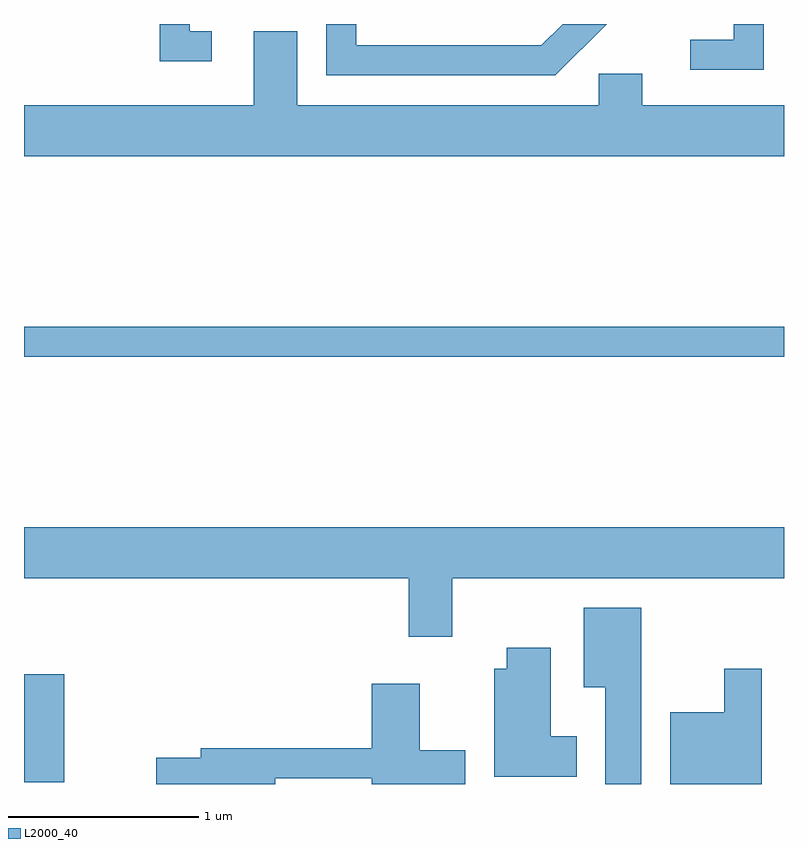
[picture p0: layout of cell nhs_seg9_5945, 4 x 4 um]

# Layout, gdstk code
import gdstk
lib = gdstk.Library(unit=1e-6, precision=1e-09)
def R(c, l, rs):  # rectangles x0, y0, x1, y1
    for r in rs: c.add(gdstk.rectangle(r[:2], r[2:], *l))
def P(c, l, *ps):  # polygons
    for p in ps: c.add(gdstk.Polygon(p, *l))
L2000_40 = (2000, 40)

nhs_seg9_5945 = lib.new_cell('nhs_seg9_5945')
R(nhs_seg9_5945, L2000_40, [(359.611,2068.441,359.824,2069.009), (359.611,2070.681,363.611,2070.839)])
P(nhs_seg9_5945, L2000_40, [(362.678,2072.432),(362.446,2072.432),(362.334,2072.319),(361.359,2072.319),(361.359,2072.432),(361.201,2072.432),(361.201,2072.161),(362.407,2072.161)],
  [(363.504,2072.432),(363.346,2072.432),(363.346,2072.349),(363.118,2072.349),(363.118,2072.191),(363.504,2072.191)],
  [(360.598,2072.394),(360.484,2072.394),(360.484,2072.432),(360.326,2072.432),(360.326,2072.236),(360.598,2072.236)],
  [(362.636,2072.169),(362.636,2072.004),(361.049,2072.004),(361.049,2072.394),(360.821,2072.394),(360.821,2072.004),(359.611,2072.004),(359.611,2071.736),(363.611,2071.736),(363.611,2072.004),(362.864,2072.004),(362.864,2072.169)],
  [(361.864,2069.516),(363.611,2069.516),(363.611,2069.784),(359.611,2069.784),(359.611,2069.516),(361.636,2069.516),(361.636,2069.206),(361.864,2069.206)],
  [(362.859,2069.359),(362.556,2069.359),(362.556,2068.941),(362.671,2068.941),(362.671,2068.432),(362.859,2068.432)],
  [(362.519,2068.684),(362.384,2068.684),(362.384,2069.149),(362.151,2069.149),(362.151,2069.039),(362.086,2069.039),(362.086,2068.471),(362.519,2068.471)],
  [(363.494,2069.039),(363.296,2069.039),(363.296,2068.809),(363.011,2068.809),(363.011,2068.432),(363.494,2068.432)],
  [(360.934,2068.461),(361.441,2068.461),(361.441,2068.432),(361.934,2068.432),(361.934,2068.609),(361.694,2068.609),(361.694,2068.959),(361.441,2068.959),(361.441,2068.619),(360.541,2068.619),(360.541,2068.569),(360.306,2068.569),(360.306,2068.432),(360.934,2068.432)])

lib.write_gds('nhs_seg9_5945.gds')
